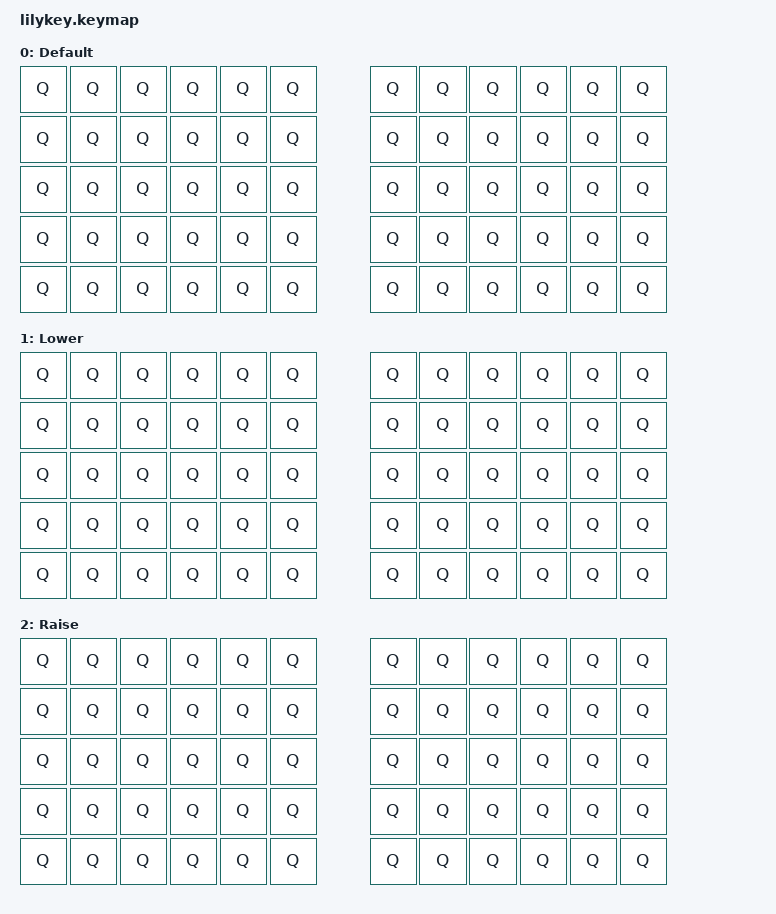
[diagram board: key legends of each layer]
#include <behaviors.dtsi>
#include <dt-bindings/zmk/keys.h>
#include <dt-bindings/zmk/bt.h>

/ {
    keymap {
        compatible = "zmk,keymap";
        display-name = "LilyKey";

        default_layer {
            display-name = "Default";
            // All keys output 'q' for testing
            
            bindings = <
&kp Q &kp Q &kp Q &kp Q &kp Q &kp Q       &kp Q &kp Q &kp Q &kp Q &kp Q &kp Q
&kp Q &kp Q &kp Q &kp Q &kp Q &kp Q       &kp Q &kp Q &kp Q &kp Q &kp Q &kp Q
&kp Q &kp Q &kp Q &kp Q &kp Q &kp Q       &kp Q &kp Q &kp Q &kp Q &kp Q &kp Q
&kp Q &kp Q &kp Q &kp Q &kp Q &kp Q       &kp Q &kp Q &kp Q &kp Q &kp Q &kp Q
&kp Q &kp Q &kp Q &kp Q &kp Q &kp Q       &kp Q &kp Q &kp Q &kp Q &kp Q &kp Q
            >;
        };

        lower_layer {
            display-name = "Lower";
            bindings = <
&kp Q &kp Q &kp Q &kp Q &kp Q &kp Q       &kp Q &kp Q &kp Q &kp Q &kp Q &kp Q
&kp Q &kp Q &kp Q &kp Q &kp Q &kp Q       &kp Q &kp Q &kp Q &kp Q &kp Q &kp Q
&kp Q &kp Q &kp Q &kp Q &kp Q &kp Q       &kp Q &kp Q &kp Q &kp Q &kp Q &kp Q
&kp Q &kp Q &kp Q &kp Q &kp Q &kp Q       &kp Q &kp Q &kp Q &kp Q &kp Q &kp Q
&kp Q &kp Q &kp Q &kp Q &kp Q &kp Q       &kp Q &kp Q &kp Q &kp Q &kp Q &kp Q
            >;
        };

        raise_layer {
            display-name = "Raise";
            bindings = <
&kp Q &kp Q &kp Q &kp Q &kp Q &kp Q       &kp Q &kp Q &kp Q &kp Q &kp Q &kp Q
&kp Q &kp Q &kp Q &kp Q &kp Q &kp Q       &kp Q &kp Q &kp Q &kp Q &kp Q &kp Q
&kp Q &kp Q &kp Q &kp Q &kp Q &kp Q       &kp Q &kp Q &kp Q &kp Q &kp Q &kp Q
&kp Q &kp Q &kp Q &kp Q &kp Q &kp Q       &kp Q &kp Q &kp Q &kp Q &kp Q &kp Q
&kp Q &kp Q &kp Q &kp Q &kp Q &kp Q       &kp Q &kp Q &kp Q &kp Q &kp Q &kp Q
            >;
        };
    };
};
